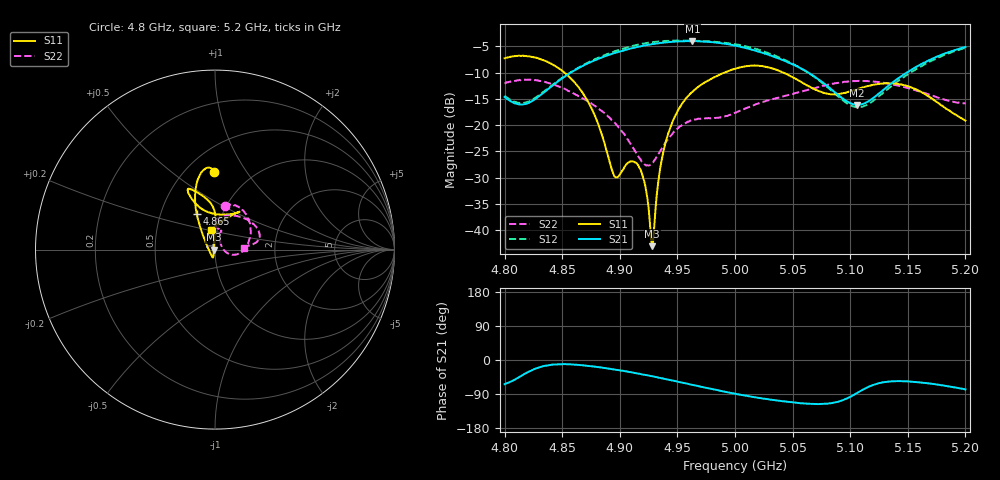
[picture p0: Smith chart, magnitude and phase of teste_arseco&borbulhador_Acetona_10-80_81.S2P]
! Network Analyzer HP8722D
! Hewlett-Packard
! Data name: Linha & Wilkinson
! Saver's name: Rodrigo Anjos
! Comments: Teste da utilização de aquisição
! continua pelo VNA HP8722D
! Time and date: 25/4/2025 15:56
!  Frequency  S11  S21  S12  S22
# HZ  S  MA R 50
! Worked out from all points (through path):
!   401 points, 4.8 GHz to 5.2 GHz, reference 50 ohm
!   highest |S21| = -3.97 dB at 4.963 GHz (marker M1); lowest = -16.1 dB at 5.106 GHz (marker M2)
!   lowest |S11| = -43.0 dB at 4.928 GHz (marker M3), VSWR 1.01, Z = 49.3 - j0.11 ohm
!   |S11| at or under -10 dB: 4.852 GHz to 4.991 GHz (138.7 MHz wide, 2.82 % of centre); 5.042 GHz to end of sweep
!   |S22| runs from -27.7 to -11.3 dB; largest |S21 - S12| = 1.2
!   S11 on the Smith chart (normalised r, x): 4.8 GHz: 0.68, +0.72; 4.865 GHz: 0.76, +0.32; 5.2 GHz: 0.94, +0.21
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4.8e9  0.4343 90.7  0.1858 -63.9  0.1907 69.7  0.2497 77.2
4.82e9  0.453 97.0  0.1617 -32.3  0.167 98.3  0.2719 61.6
4.845e9  0.3599 107.3  0.2548 -11.4  0.2587 119.4  0.2386 34.3
4.865e9  0.2238 117.1  0.3536 -13.2  0.3582 120.8  0.1883 11.0
4.867e9  0.2086 118.3  0.3634 -13.9  0.3681 120.7  0.1823 8.7
4.88e9  0.1111 128.6  0.4231 -18.5  0.4332 118.2  0.1487 -5.3
4.896e9  0.03201 -164.5  0.4881 -25.4  0.5076 113.3  0.1045 -16.0
4.909e9  0.04512 -107.2  0.5351 -31.9  0.5605 107.7  0.06732 -14.6
4.917e9  0.03938 -103.4  0.562 -36.3  0.5901 103.4  0.04862 -2.0
4.922e9  0.02686 -106.7  0.5758 -39.2  0.6039 100.7  0.04191 16.4
4.928e9  0.00705 -170.9  0.593 -42.8  0.6167 97.0  0.04354 41.0
4.93e9  0.01125 124.0  0.5958 -44.2  0.6202 95.8  0.04635 48.2
4.934e9  0.03247 99.0  0.6041 -46.9  0.6297 93.3  0.05416 58.3
4.945e9  0.1028 90.2  0.6229 -53.8  0.6384 86.3  0.08088 69.9
4.963e9  0.2081 90.5  0.6331 -65.5  0.6383 74.6  0.1109 71.4
5e9  0.3456 109.1  0.5727 -89.0  0.5928 50.9  0.1312 88.6
5.031e9  0.3512 115.1  0.461 -104.7  0.4784 33.2  0.1753 84.7
5.067e9  0.2262 105.2  0.3009 -115.9  0.2985 23.6  0.2225 57.2
5.106e9  0.2192 64.6  0.1558 -87.1  0.1482 56.0  0.2633 24.9
5.134e9  0.2509 57.1  0.241 -56.8  0.2267 88.7  0.248 12.5
5.169e9  0.185 69.7  0.4181 -62.0  0.402 84.9  0.1947 6.8
5.2e9  0.1107 100.4  0.5559 -77.7  0.546 70.2  0.1613 3.9
